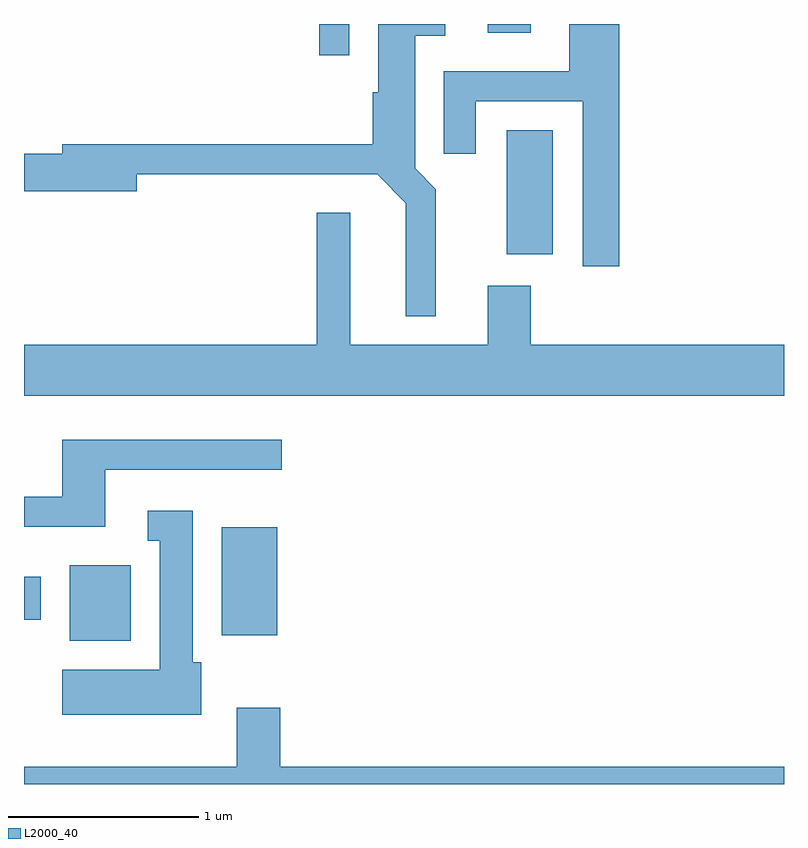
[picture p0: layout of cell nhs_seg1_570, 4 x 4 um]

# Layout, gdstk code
import gdstk
lib = gdstk.Library(unit=1e-6, precision=1e-09)
def R(c, l, rs):  # rectangles x0, y0, x1, y1
    for r in rs: c.add(gdstk.rectangle(r[:2], r[2:], *l))
def P(c, l, *ps):  # polygons
    for p in ps: c.add(gdstk.Polygon(p, *l))
L2000_40 = (2000, 40)

nhs_seg1_570 = lib.new_cell('nhs_seg1_570')
R(nhs_seg1_570, L2000_40, [(201.851,940.466,202.174,940.864), (202.651,940.496,202.944,941.064), (201.611,940.576,201.699,940.804), (204.151,942.501,204.394,943.154), (203.166,943.548,203.324,943.712), (204.051,943.666,204.279,943.712)])
P(nhs_seg1_570, L2000_40, [(203.779,942.842),(203.669,942.952),(203.669,943.651),(203.828,943.651),(203.828,943.712),(203.476,943.712),(203.476,943.354),(203.446,943.354),(203.446,943.079),(201.811,943.079),(201.811,943.029),(201.611,943.029),(201.611,942.831),(202.204,942.831),(202.204,942.921),(203.469,942.921),(203.621,942.769),(203.621,942.173),(203.779,942.173)],
  [(204.744,943.712),(204.481,943.712),(204.481,943.464),(203.821,943.464),(203.821,943.028),(203.989,943.028),(203.989,943.306),(204.551,943.306),(204.551,942.436),(204.744,942.436)],
  [(205.611,942.024),(204.279,942.024),(204.279,942.334),(204.051,942.334),(204.051,942.024),(203.329,942.024),(203.329,942.719),(203.151,942.719),(203.151,942.024),(201.611,942.024),(201.611,941.756),(205.611,941.756)],
  [(202.039,941.366),(202.968,941.366),(202.968,941.524),(201.811,941.524),(201.811,941.224),(201.611,941.224),(201.611,941.066),(202.039,941.066)],
  [(202.544,940.354),(202.499,940.354),(202.499,941.149),(202.263,941.149),(202.263,940.991),(202.326,940.991),(202.326,940.314),(201.811,940.314),(201.811,940.076),(202.544,940.076)],
  [(205.611,939.804),(202.959,939.804),(202.959,940.114),(202.731,940.114),(202.731,939.804),(201.611,939.804),(201.611,939.712),(205.611,939.712)])

lib.write_gds('nhs_seg1_570.gds')
